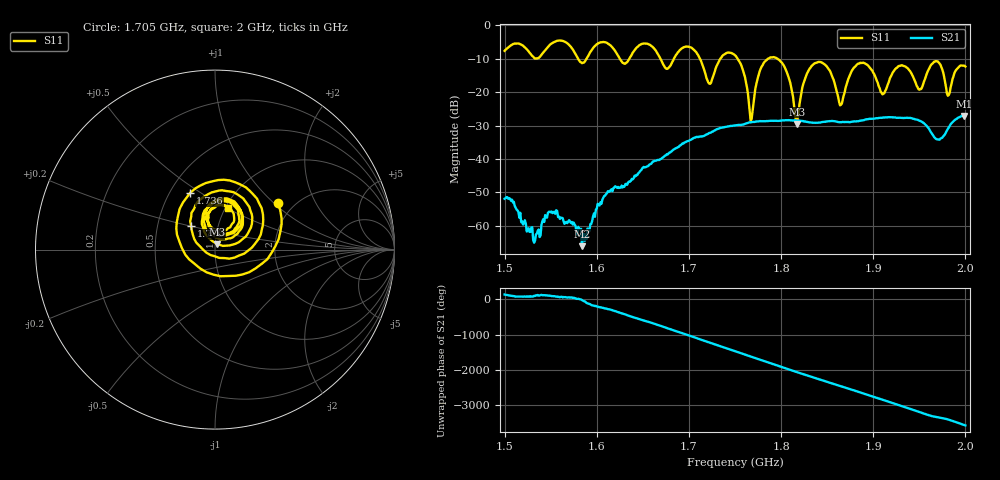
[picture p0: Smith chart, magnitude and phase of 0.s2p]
! NanoVNA-App by SYSJOINT et al v1.1.209 (+OD18)
! Date: 2026-01-21 14:39:23
! Start: 1,5GHz Stop: 2GHz Points: 501
! S-Parameter data: F S11 S21 S12 S22
# Hz S RI R 50
!  Frequency  S11_Real  S11_Imag  S21_Real  S21_Imag  S12_Real  S12_Imag  S22_Real  S22_Imag
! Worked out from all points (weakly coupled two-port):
!   501 points, 1.5 GHz to 2 GHz, reference 50 ohm
!   highest |S21| = -27.09 dB at 1.999 GHz (marker M1); lowest = -66.1 dB at 1.584 GHz (marker M2)
!   lowest |S11| = -29.5 dB at 1.817 GHz (marker M3), VSWR 1.07, Z = 50.9 + j3.26 ohm
!   |S11| at or under -10 dB: 1.712 GHz to 1.734 GHz (21.87 MHz wide, 1.27 % of centre); 1.753 GHz to 1.786 GHz (32.7 MHz wide, 1.85 % of centre); 1.796 GHz to end of sweep (the widest 3 of 6)
!   S12 and S22 are empty: the file has one direction only
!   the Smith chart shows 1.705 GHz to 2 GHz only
!   S11 on the Smith chart (normalised r, x): 1.705 GHz: 1.66, +1.06; 1.736 GHz: 0.63, +0.45; 1.776 GHz: 0.74, +0.20; 2 GHz: 1.02, +0.51
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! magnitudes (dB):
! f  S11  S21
! 1.5 GHz  -7.6  -51.9
! 1.533 GHz  -9.9  -64.4
! 1.549 GHz  -5.8  -55.8
! 1.584 GHz  -11.3  -66.1
! 1.667 GHz  -8.9  -40.3
! 1.705 GHz  -7.2  -33.7
! 1.722 GHz  -17.4  -32.2
! 1.736 GHz  -9.2  -30.6
! 1.75 GHz  -9.0  -30.0
! 1.767 GHz  -28.5  -29.0
! 1.776 GHz  -14.5  -28.7
! 1.8 GHz  -10.9  -28.6
! 1.817 GHz  -29.5  -28.5
! 1.834 GHz  -11.9  -29.1
! 1.865 GHz  -23.7  -29.0
! 1.884 GHz  -11.4  -28.7
! 1.917 GHz  -16.8  -27.5
! 1.951 GHz  -19.1  -28.6
! 1.969 GHz  -10.7  -34.1
! 1.982 GHz  -20.8  -30.5
! 1.999 GHz  -12.1  -27.1
! 2 GHz  -12.3  -27.1
